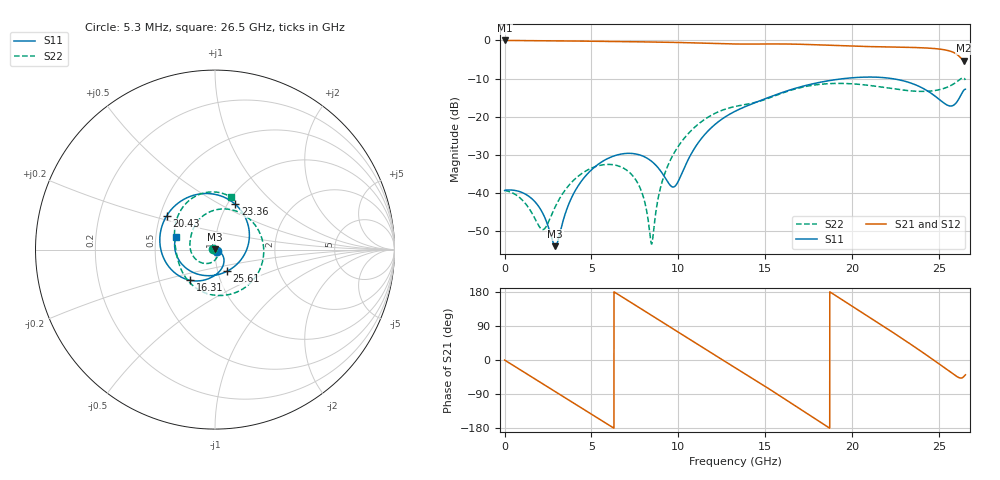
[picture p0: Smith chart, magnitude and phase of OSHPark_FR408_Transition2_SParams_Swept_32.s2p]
! TOUCHSTONE file generated by CST MICROWAVE STUDIO
! Date and time: Tue Jan  7 09:43:49 2020
! Project name: OSHPark_FR408_Transition2.cst
! Parameters = {GND_Plane_XMax=12.25; Cap_Disk_XOffset=0; Cap_Disk2_YCenter=-1.03; Cap_Disk_YCenter=1.03; Cap_Disk_XCenter=7.39; Cap_Disk_Radius=0.5; BottomSupport_Left_YMax=4.76; BottomSupport_Left_YMin=3.74; BottomSupport_Right_YMax=-3.74; BottomSupport_Right_YMin=-4.76; BottomSupport_XMax=11.64; 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
! Header version: 2015
! Port assignment regex: !\s*Touchstone port\s*([0-9]+)\s*=\s*CST MWS port\s*([0-9]+)\s*\(\"(.*)\"\)(\s*mode\s*([0-9]+))?.*
! Touchstone port assignment:
! Touchstone port 1 = CST MWS port 1 ("")
! Touchstone port 2 = CST MWS port 2 ("")
# GHz S MA R 50
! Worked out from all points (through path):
!   5000 points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, 5.3 MHz to 26.5 GHz, reference 50 ohm
!   highest |S21| = 0.00 dB at 10.6 MHz (marker M1); lowest = -5.3 dB at 26.41 GHz (marker M2)
!   group delay of S21, straight-line fit = 81 ps
!   lowest |S11| = -54.0 dB at 2.92 GHz (marker M3), VSWR 1.00, Z = 49.8 + j0.1 ohm
!   |S11| at or under -10 dB: start of sweep to 19.53 GHz; 22.27 GHz to end of sweep
!   |S22| runs from -53.4 to -9.8 dB; largest |S21 - S12| = 0
!   S11 on the Smith chart (normalised r, x): 5.3 MHz: 1.02, -0.01; 16.31 GHz: 0.72, -0.26; 20.43 GHz: 0.54, +0.23; 23.36 GHz: 1.09, +0.59; 25.61 GHz: 1.11, -0.27; 26.5 GHz: 0.64, +0.10
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0.0053  0.01074 -28.1  0.9999 -0.2  0.9999 -0.2  0.01086 150.2
0.0106  0.01077 -28.8  0.9999 -0.3  0.9999 -0.3  0.01084 150.6
2.1624  0.005599 -114.5  0.9918 -61.8  0.9918 -61.8  0.003309 33.6
2.9203  0.001996 149.7  0.9883 -83.5  0.9883 -83.5  0.006586 -48.9
4.4255  0.01428 17.6  0.9804 -126.6  0.9804 -126.6  0.01781 -104.1
5.8406  0.02752 -30.4  0.972 -167.1  0.972 -167.1  0.02357 -142.9
7.1868  0.033 -69.5  0.9634 154.3  0.9634 154.3  0.01853 178.7
7.9182  0.03061 -87.5  0.9584 133.3  0.9584 133.3  0.009818 152.4
8.4482  0.02603 -97.7  0.9545 118.0  0.9545 118.0  0.002137 65.0
8.8404  0.02123 -101.5  0.9514 106.7  0.9514 106.7  0.00866 -27.3
9.7785  0.0121 -61.2  0.9428 79.6  0.9428 79.6  0.03416 -65.9
11.3314  0.052 -35.6  0.9238 34.8  0.9238 34.8  0.0862 -116.7
13.2553  0.1175 -74.4  0.8988 -20.1  0.8988 -20.1  0.1359 -178.2
14.9195  0.1694 -104.3  0.8984 -67.7  0.8984 -67.7  0.1664 137.5
16.3134  0.2205 -129.2  0.8976 -109.0  0.8976 -109.0  0.2168 93.6
17.6702  0.268 -155.7  0.8818 -149.5  0.8818 -149.5  0.2572 41.3
20.4262  0.3284 145.4  0.8372 129.3  0.8372 129.3  0.265 -65.7
22.0851  0.3204 103.8  0.8216 80.2  0.8216 80.2  0.2371 -118.8
23.3571  0.2764 65.8  0.8108 41.5  0.8108 41.5  0.2178 -151.4
25.6096  0.1381 -60.9  0.7255 -31.0  0.7255 -31.0  0.2526 152.6
26.4099  0.2226 -179.3  0.5455 -43.7  0.5455 -43.7  0.3206 89.1
26.5  0.2288 160.5  0.5682 -39.2  0.5682 -39.2  0.3032 71.5
